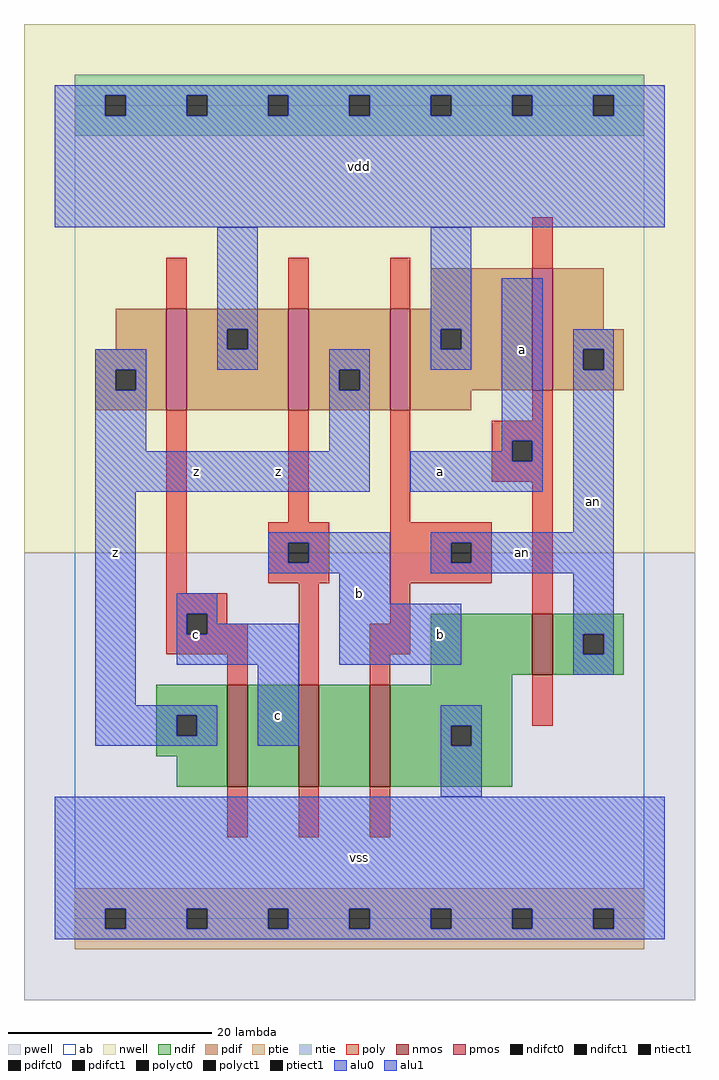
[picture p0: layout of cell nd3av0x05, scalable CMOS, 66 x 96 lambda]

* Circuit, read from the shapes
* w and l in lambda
.subckt nd3av0x05 a an b c vdd vss z
M1 n1 c z vss nfet w=10 l=2
M2 n2 b n1 vss nfet w=10 l=2
M3 vss an n2 vss nfet w=10 l=2
M4 an a vss vss nfet w=6 l=2
M5 vdd c z vdd pfet w=10 l=2
M6 z b vdd vdd pfet w=10 l=2
M7 vdd an z vdd pfet w=10 l=2
M8 an a vdd vdd pfet w=12 l=2
.ends

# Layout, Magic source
magic
tech scmos
<< ab >>
rect 0 0 56 80
<< nwell >>
rect -5 36 61 88
<< pwell >>
rect -5 -8 61 36
<< poly >>
rect 9 60 11 65
rect 21 60 23 65
rect 31 60 33 65
rect 45 64 47 69
rect 9 32 11 50
rect 21 39 23 50
rect 31 39 33 50
rect 45 49 47 52
rect 41 47 47 49
rect 41 45 43 47
rect 45 45 47 47
rect 41 43 47 45
rect 19 37 25 39
rect 19 35 21 37
rect 23 35 25 37
rect 19 33 25 35
rect 31 37 41 39
rect 31 35 37 37
rect 39 35 41 37
rect 31 33 41 35
rect 9 30 15 32
rect 9 28 11 30
rect 13 29 15 30
rect 13 28 17 29
rect 9 26 17 28
rect 15 23 17 26
rect 22 23 24 33
rect 31 29 33 33
rect 45 30 47 43
rect 29 26 33 29
rect 29 23 31 26
rect 45 19 47 24
rect 15 8 17 13
rect 22 8 24 13
rect 29 8 31 13
<< ndif >>
rect 35 24 45 30
rect 47 28 54 30
rect 47 26 50 28
rect 52 26 54 28
rect 47 24 54 26
rect 35 23 43 24
rect 8 20 15 23
rect 8 18 10 20
rect 12 18 15 20
rect 8 16 15 18
rect 10 13 15 16
rect 17 13 22 23
rect 24 13 29 23
rect 31 19 43 23
rect 31 17 37 19
rect 39 17 43 19
rect 31 13 43 17
<< pdif >>
rect 35 60 45 64
rect 4 56 9 60
rect 2 54 9 56
rect 2 52 4 54
rect 6 52 9 54
rect 2 50 9 52
rect 11 58 21 60
rect 11 56 15 58
rect 17 56 21 58
rect 11 50 21 56
rect 23 54 31 60
rect 23 52 26 54
rect 28 52 31 54
rect 23 50 31 52
rect 33 58 45 60
rect 33 56 36 58
rect 38 56 45 58
rect 33 52 45 56
rect 47 58 52 64
rect 47 56 54 58
rect 47 54 50 56
rect 52 54 54 56
rect 47 52 54 54
rect 33 50 39 52
<< alu1 >>
rect -2 81 58 82
rect -2 79 3 81
rect 5 79 11 81
rect 13 79 19 81
rect 21 79 27 81
rect 29 79 35 81
rect 37 79 43 81
rect 45 79 51 81
rect 53 79 58 81
rect -2 68 58 79
rect 2 54 7 56
rect 25 54 29 56
rect 2 52 4 54
rect 6 52 7 54
rect 2 46 7 52
rect 25 52 26 54
rect 28 52 29 54
rect 25 46 29 52
rect 42 47 46 63
rect 42 46 43 47
rect 2 42 29 46
rect 33 45 43 46
rect 45 45 46 47
rect 33 42 46 45
rect 2 21 6 42
rect 19 37 31 38
rect 19 35 21 37
rect 23 35 31 37
rect 19 34 31 35
rect 10 30 14 32
rect 10 28 11 30
rect 13 29 14 30
rect 26 31 31 34
rect 13 28 22 29
rect 10 25 22 28
rect 26 25 38 31
rect 2 20 14 21
rect 2 18 10 20
rect 12 18 14 20
rect 2 17 14 18
rect 18 17 22 25
rect -2 1 58 12
rect -2 -1 3 1
rect 5 -1 11 1
rect 13 -1 19 1
rect 21 -1 27 1
rect 29 -1 35 1
rect 37 -1 43 1
rect 45 -1 51 1
rect 53 -1 58 1
rect -2 -2 58 -1
<< ptie >>
rect 0 1 56 3
rect 0 -1 3 1
rect 5 -1 11 1
rect 13 -1 19 1
rect 21 -1 27 1
rect 29 -1 35 1
rect 37 -1 43 1
rect 45 -1 51 1
rect 53 -1 56 1
rect 0 -3 56 -1
<< ntie >>
rect 0 81 56 83
rect 0 79 3 81
rect 5 79 11 81
rect 13 79 19 81
rect 21 79 27 81
rect 29 79 35 81
rect 37 79 43 81
rect 45 79 51 81
rect 53 79 56 81
rect 0 77 56 79
<< nmos >>
rect 45 24 47 30
rect 15 13 17 23
rect 22 13 24 23
rect 29 13 31 23
<< pmos >>
rect 9 50 11 60
rect 21 50 23 60
rect 31 50 33 60
rect 45 52 47 64
<< polyct0 >>
rect 37 35 39 37
<< polyct1 >>
rect 43 45 45 47
rect 21 35 23 37
rect 11 28 13 30
<< ndifct0 >>
rect 50 26 52 28
rect 37 17 39 19
<< ndifct1 >>
rect 10 18 12 20
<< ntiect1 >>
rect 3 79 5 81
rect 11 79 13 81
rect 19 79 21 81
rect 27 79 29 81
rect 35 79 37 81
rect 43 79 45 81
rect 51 79 53 81
<< ptiect1 >>
rect 3 -1 5 1
rect 11 -1 13 1
rect 19 -1 21 1
rect 27 -1 29 1
rect 35 -1 37 1
rect 43 -1 45 1
rect 51 -1 53 1
<< pdifct0 >>
rect 15 56 17 58
rect 36 56 38 58
rect 50 54 52 56
<< pdifct1 >>
rect 4 52 6 54
rect 26 52 28 54
<< alu0 >>
rect 14 58 18 68
rect 14 56 15 58
rect 17 56 18 58
rect 35 58 39 68
rect 35 56 36 58
rect 38 56 39 58
rect 14 54 18 56
rect 35 54 39 56
rect 49 56 53 58
rect 49 54 50 56
rect 52 54 53 56
rect 49 38 53 54
rect 35 37 53 38
rect 35 35 37 37
rect 39 35 53 37
rect 35 34 53 35
rect 49 28 53 34
rect 49 26 50 28
rect 52 26 53 28
rect 49 24 53 26
rect 36 19 40 21
rect 36 17 37 19
rect 39 17 40 19
rect 36 12 40 17
<< labels >>
rlabel alu0 44 36 44 36 6 an
rlabel alu0 51 41 51 41 6 an
rlabel alu1 4 36 4 36 6 z
rlabel alu1 20 20 20 20 6 c
rlabel alu1 12 28 12 28 6 c
rlabel alu1 20 44 20 44 6 z
rlabel alu1 12 44 12 44 6 z
rlabel alu1 28 6 28 6 6 vss
rlabel alu1 28 32 28 32 6 b
rlabel alu1 36 28 36 28 6 b
rlabel alu1 36 44 36 44 6 a
rlabel alu1 28 74 28 74 6 vdd
rlabel alu1 44 56 44 56 6 a
<< end >>
